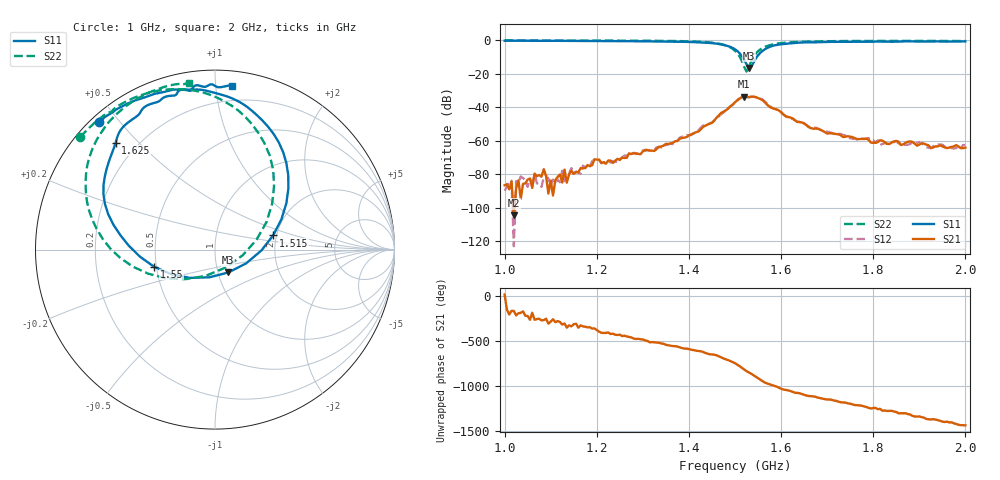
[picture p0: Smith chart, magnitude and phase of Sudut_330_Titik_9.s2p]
# Hz S RI R 50
! CMT, C1220, 16058040, 17.2.0/1
! Date: 14/08/2018 11:59:40
! Data: Format (Calibration Info)
! Freq  S11: Re/Im (F2)  S21: Re/Im (F2)  S12: Re/Im (F2)  S22: Re/Im (F2)
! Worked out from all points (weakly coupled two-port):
!   201 points, 1 GHz to 2 GHz, reference 50 ohm
!   highest |S21| = -33.70 dB at 1.52 GHz (marker M1); lowest = -104.6 dB at 1.02 GHz (marker M2)
!   lowest |S11| = -16.6 dB at 1.53 GHz (marker M3), VSWR 1.35, Z = 56 - j14.6 ohm
!   |S11| at or under -10 dB: 1.516 GHz to 1.548 GHz (31.55 MHz wide, 2.06 % of centre)
!   |S22| runs from -18.7 to -0.2 dB; largest |S21 - S12| = 0.00088
!   S11 on the Smith chart (normalised r, x): 1 GHz: 0.02, +0.44; 1.515 GHz: 1.92, +0.34; 1.55 GHz: 0.48, -0.11; 1.625 GHz: 0.12, +0.43; 2 GHz: 0.10, +1.10
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1e9  -0.6441 0.7123  4.57e-05 1.08e-05  -2.78e-05 -1.56e-05  -0.75 0.6269
1.02e9  -0.6235 0.7284  -5.78e-06 -1.15e-06  5.14e-07 -4.95e-07  -0.736 0.642
1.08e9  -0.5614 0.7715  5.75e-06 8.42e-05  1.7e-06 4.19e-05  -0.6923 0.6863
1.085e9  -0.5588 0.7738  1.33e-06 0.000141  3.86e-06 8.04e-05  -0.6884 0.6902
1.135e9  -0.5044 0.8042  5.58e-05 6e-06  6.41e-05 6.93e-05  -0.6466 0.727
1.145e9  -0.496 0.8089  0.00012 4.31e-05  0.000115 9.92e-05  -0.6373 0.7338
1.165e9  -0.4779 0.8175  0.000131 7.78e-05  9.32e-05 4.14e-05  -0.6179 0.7488
1.17e9  -0.4706 0.8206  0.000141 5.08e-05  0.000165 7.21e-05  -0.6124 0.752
1.195e9  -0.4323 0.8351  0.000279 -1.13e-05  0.00027 -2.49e-05  -0.5829 0.7653
1.235e9  -0.3803 0.8519  0.000104 -0.00019  9.3e-05 -0.000222  -0.5506 0.7931
1.335e9  -0.2129 0.8916  -0.000619 -0.000213  -0.000641 -0.0001  -0.3958 0.8658
1.45e9  0.1809 0.7935  0.00127 0.00315  0.00152 0.00313  0.0266 0.8395
1.5e9  0.4089 0.3405  0.0122 -0.00687  0.0115 -0.00651  0.329 0.3518
1.515e9  0.3237 0.0789  0.00314 -0.0195  0.00365 -0.0196  0.2314 0.0551
1.52e9  0.2582 -0.00519  -0.00352 -0.0203  -0.00332 -0.0206  0.1543 -0.0318
1.53e9  0.0744 -0.1275  -0.013 -0.0149  -0.0132 -0.0151  -0.0504 -0.1459
1.55e9  -0.3405 -0.0949  -0.0178 0.00556  -0.018 0.00495  -0.4563 -0.0957
1.58e9  -0.6132 0.2541  0.000125 0.00942  0.000577 0.00976  -0.7014 0.2171
1.625e9  -0.5534 0.5962  0.00452 0.00106  0.00429 0.00113  -0.6967 0.5224
1.67e9  -0.4405 0.7393  0.00178 -0.00141  0.00196 -0.00154  -0.6203 0.6735
1.835e9  -0.146 0.8854  -0.000755 0.000255  -0.000774 0.000361  -0.3703 0.8735
2e9  0.093 0.9117  0.00062 -7.99e-06  0.000727 -3.71e-05  -0.147 0.9309
